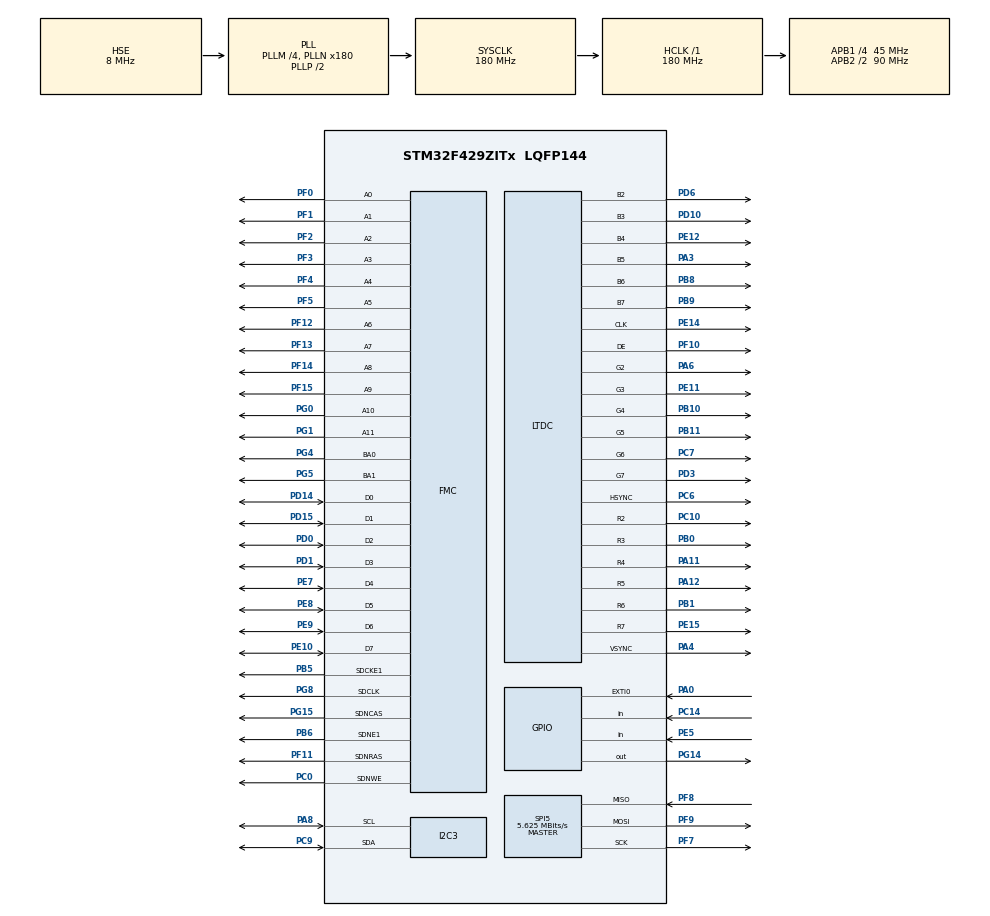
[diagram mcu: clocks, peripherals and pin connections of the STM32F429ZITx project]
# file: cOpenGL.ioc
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FMC.CASLatency2=FMC_SDRAM_CAS_LATENCY_3
FMC.ExitSelfRefreshDelay2=7
FMC.LoadToActiveDelay2=2
FMC.RCDDelay2=2
FMC.RPDelay2=2
FMC.ReadPipeDelay2=FMC_SDRAM_RPIPE_DELAY_1
FMC.RowCycleDelay2=7
FMC.SDClockPeriod2=FMC_SDRAM_CLOCK_PERIOD_2
FMC.SelfRefreshTime2=4
FMC.WriteRecoveryTime2=4
LTDC.ActiveH=480
LTDC.ActiveW=640
LTDC.HSync=8
LTDC.VSync=4
Mcu.Family=STM32F4
Mcu.Name=STM32F429ZITx
Mcu.Package=LQFP144
NVIC.EXTI0_IRQn=true\:0\:0\:false\:false\:true\:true\:true
NVIC.PriorityGroup=NVIC_PRIORITYGROUP_0
PA0/WKUP.GPIO_ModeDefaultEXTI=GPIO_MODE_IT_RISING
PA0/WKUP.GPIO_PuPd=GPIO_PULLDOWN
PA0/WKUP.Signal=GPXTI0
PA11.Mode=RGB666
PA11.Signal=LTDC_R4
PA12.Mode=RGB666
PA12.Signal=LTDC_R5
PA13.Mode=Serial_Wire
PA13.Signal=SYS_JTMS-SWDIO
PA14.Mode=Serial_Wire
PA14.Signal=SYS_JTCK-SWCLK
PA3.Mode=RGB666
PA3.Signal=LTDC_B5
PA4.Mode=RGB666
PA4.Signal=LTDC_VSYNC
PA6.Mode=RGB666
PA6.Signal=LTDC_G2
PA8.Mode=I2C
PA8.Signal=I2C3_SCL
PB0.Mode=RGB666
PB0.Signal=LTDC_R3
PB1.Mode=RGB666
PB1.Signal=LTDC_R6
PB10.Mode=RGB666
PB10.Signal=LTDC_G4
PB11.Mode=RGB666
PB11.Signal=LTDC_G5
PB5.Mode=SdramChipSelect2_2
PB5.Signal=FMC_SDCKE1
PB6.Mode=SdramChipSelect2_2
PB6.Signal=FMC_SDNE1
PB8.Mode=RGB666
PB8.Signal=LTDC_B6
PB9.Mode=RGB666
PB9.Signal=LTDC_B7
PC0.Signal=FMC_SDNWE
PC10.Mode=RGB666
PC10.Signal=LTDC_R2
PC14/OSC32_IN.GPIO_PuPd=GPIO_PULLUP
PC14/OSC32_IN.Signal=GPIO_Input
PC6.Mode=RGB666
PC6.Signal=LTDC_HSYNC
PC7.Mode=RGB666
PC7.Signal=LTDC_G6
PC9.Mode=I2C
PC9.Signal=I2C3_SDA
PD0.Signal=FMC_D2_DA2
PD1.Signal=FMC_D3_DA3
PD10.Mode=RGB666
PD10.Signal=LTDC_B3
PD14.Signal=FMC_D0_DA0
PD15.Signal=FMC_D1_DA1
PD3.Mode=RGB666
PD3.Signal=LTDC_G7
PD6.Mode=RGB666
PD6.Signal=LTDC_B2
PE10.Signal=FMC_D7_DA7
PE11.Mode=RGB666
PE11.Signal=LTDC_G3
PE12.Mode=RGB666
PE12.Signal=LTDC_B4
PE14.Mode=RGB666
PE14.Signal=LTDC_CLK
PE15.Mode=RGB666
PE15.Signal=LTDC_R7
PE5.GPIO_PuPd=GPIO_PULLUP
PE5.Signal=GPIO_Input
PE7.Signal=FMC_D4_DA4
PE8.Signal=FMC_D5_DA5
PE9.Signal=FMC_D6_DA6
PF0.Signal=FMC_A0
PF1.Signal=FMC_A1
PF10.Mode=RGB666
PF10.Signal=LTDC_DE
PF11.Signal=FMC_SDNRAS
PF12.Signal=FMC_A6
PF13.Signal=FMC_A7
PF14.Signal=FMC_A8
PF15.Signal=FMC_A9
PF2.Signal=FMC_A2
PF3.Signal=FMC_A3
PF4.Signal=FMC_A4
PF5.Signal=FMC_A5
PF7.Mode=Full_Duplex_Master
PF7.Signal=SPI5_SCK
PF8.Mode=Full_Duplex_Master
PF8.Signal=SPI5_MISO
PF9.Mode=Full_Duplex_Master
PF9.Signal=SPI5_MOSI
PG0.Signal=FMC_A10
PG1.Signal=FMC_A11
PG14.Signal=GPIO_Output
PG15.Signal=FMC_SDNCAS
PG4.Signal=FMC_A14_BA0
PG5.Signal=FMC_A15_BA1
PG8.Signal=FMC_SDCLK
PH0/OSC_IN.Mode=HSE-External-Oscillator
PH0/OSC_IN.Signal=RCC_OSC_IN
PH1/OSC_OUT.Mode=HSE-External-Oscillator
PH1/OSC_OUT.Signal=RCC_OSC_OUT
ProjectManager.HeapSize=0x200
ProjectManager.StackSize=0x400
ProjectManager.TargetToolchain=STM32CubeIDE
RCC.48MHZClocksFreq_Value=51428571.428571425
RCC.AHBFreq_Value=180000000
RCC.APB1CLKDivider=RCC_HCLK_DIV4
RCC.APB1Freq_Value=45000000
RCC.APB1TimFreq_Value=90000000
RCC.APB2CLKDivider=RCC_HCLK_DIV2
RCC.APB2Freq_Value=90000000
RCC.APB2TimFreq_Value=180000000
RCC.CortexFreq_Value=180000000
RCC.HCLKFreq_Value=180000000
RCC.HSE_VALUE=8000000
RCC.HSI_VALUE=16000000
RCC.LSE_VALUE=32768
RCC.PLLM=4
RCC.PLLN=180
RCC.PLLQ=7
RCC.PLLSAIN=50
RCC.PLLSourceVirtual=RCC_PLLSOURCE_HSE
RCC.SYSCLKFreq_VALUE=180000000
RCC.SYSCLKSource=RCC_SYSCLKSOURCE_PLLCLK
RCC.VCOOutputFreq_Value=360000000
SH.FMC_A0.0=FMC_A0,12b-sda2
SH.FMC_A1.0=FMC_A1,12b-sda2
SH.FMC_A10.0=FMC_A10,12b-sda2
SH.FMC_A11.0=FMC_A11,12b-sda2
SH.FMC_A14_BA0.0=FMC_BA0,FourSdramBanks2
SH.FMC_A15_BA1.0=FMC_BA1,FourSdramBanks2
SH.FMC_A2.0=FMC_A2,12b-sda2
SH.FMC_A3.0=FMC_A3,12b-sda2
SH.FMC_A4.0=FMC_A4,12b-sda2
SH.FMC_A5.0=FMC_A5,12b-sda2
SH.FMC_A6.0=FMC_A6,12b-sda2
SH.FMC_A7.0=FMC_A7,12b-sda2
SH.FMC_A8.0=FMC_A8,12b-sda2
SH.FMC_A9.0=FMC_A9,12b-sda2
SH.FMC_D0_DA0.0=FMC_D0,sd-8b-d2
SH.FMC_D1_DA1.0=FMC_D1,sd-8b-d2
SH.FMC_D2_DA2.0=FMC_D2,sd-8b-d2
SH.FMC_D3_DA3.0=FMC_D3,sd-8b-d2
SH.FMC_D4_DA4.0=FMC_D4,sd-8b-d2
SH.FMC_D5_DA5.0=FMC_D5,sd-8b-d2
SH.FMC_D6_DA6.0=FMC_D6,sd-8b-d2
SH.FMC_D7_DA7.0=FMC_D7,sd-8b-d2
SH.FMC_SDCLK.0=FMC_SDCLK,12b-sda2
SH.FMC_SDNCAS.0=FMC_SDNCAS,12b-sda2
SH.FMC_SDNRAS.0=FMC_SDNRAS,12b-sda2
SH.FMC_SDNWE.0=FMC_SDNWE,12b-sda2
SPI5.BaudRatePrescaler=SPI_BAUDRATEPRESCALER_16
SPI5.CalculateBaudRate=5.625 MBits/s
SPI5.Direction=SPI_DIRECTION_2LINES
SPI5.Mode=SPI_MODE_MASTER
SPI5.VirtualType=VM_MASTER
VP_DMA2D_VS_DMA2D.Mode=DMA2D_Activate
board=STM32F429I-DISC1

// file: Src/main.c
/* USER CODE BEGIN Header */
/**
  ******************************************************************************
  * @file           : main.c
  * @brief          : Main program body
  ******************************************************************************
  * @attention
  *
  * <h2><center>&copy; Copyright (c) 2020 STMicroelectronics.
  * All rights reserved.</center></h2>
  *
  * This software component is licensed by ST under BSD 3-Clause license,
  * the "License"; You may not use this file except in compliance with the
  * License. You may obtain a copy of the License at:
  *                        opensource.org/licenses/BSD-3-Clause
  *
  ******************************************************************************
  */
/* USER CODE END Header */
#include "main.h"
#include "dma2d.h"
#include "i2c.h"
#include "ltdc.h"
#include "spi.h"
#include "gpio.h"
#include "fmc.h"

/* USER CODE BEGIN Includes */
#include "stm32f429i_discovery.h"
#include "stm32f429i_discovery_ts.h"
#include "stm32f429i_discovery_io.h"
#include "stm32f429i_discovery_lcd.h"
#include "stm32f429i_discovery_gyroscope.h"

// opengl.h import must be the first one
#include "opengl.h"

#include "oglcube.h"
#include "TouchScreen/ts_calibration.h"
#include "camera.h"
#include "framehandler.h"
#include "depth_sdram.h"
#include "linmath_test.h"
#include "Demo.h"
#include "Log/lcd_log.h"

/* USER CODE END Includes */

/* USER CODE BEGIN PM */
#define DEPTH_SDRAM_START_ADRRES (LCD_FRAME_BUFFER + 2 * BUFFER_OFFSET)
#define ALT_KEY			GPIO_PIN_14
#define CUSTOM_SW_KEY	GPIO_PIN_5

/* USER CODE END PM */

/* USER CODE BEGIN PV */
extern SDRAM_HandleTypeDef hsdram2;
static __IO uint8_t m_DemoId = 0;

cOpenGL_DemoTypedef cOpenGL_Examples[] = {
	{CubeRotationAnim_Resume,  CubeRotationAnim_Pause, CubeRotationAnim_SetNextColor, CubeRotationAnim_ShowStat},
	{CubeTouchMe_Resume,       CubeTouchMe_Pause},
};
/* USER CODE END PV */

void SystemClock_Config(void);
/* USER CODE BEGIN PFP */
void BSP_InitAll();

/* USER CODE END PFP */

/* USER CODE BEGIN 0 */
void BSP_InitAll() {
   /* Initialize the LCD */
   BSP_LCD_Init();
   LCD_LOG_Init();
   BSP_GYRO_Init();
   /* Initialize the LCD Layers */
   BSP_LCD_LayerDefaultInit(1, LCD_FRAME_BUFFER);
   BSP_LCD_LayerDefaultInit(0, LCD_FRAME_BUFFER + BUFFER_OFFSET);

   int layer_id;
   for (layer_id = 0; layer_id < 2; layer_id++) {
	   BSP_LCD_SelectLayer(layer_id);
	   BSP_LCD_SetFont(&Font16);
	   BSP_LCD_SetBackColor(0xFF00FF00);
	   BSP_LCD_Clear(LCD_COLOR_WHITE);
   }

   TS_StatusTypeDef ts_ret = BSP_TS_Init(BSP_LCD_GetXSize(), BSP_LCD_GetYSize());
   assert_param(ts_ret == TS_OK);

   if (IsCalibrationDone() == 0) {
	   Touchscreen_Calibration();
   }
}

/* USER CODE END 0 */

int main(void)
{

  /* MCU Configuration--------------------------------------------------------*/

  /* Reset of all peripherals, Initializes the Flash interface and the Systick. */
  HAL_Init();

  /* Configure the system clock */
  SystemClock_Config();

  /* Initialize all configured peripherals */
  MX_GPIO_Init();
  MX_FMC_Init();
  MX_LTDC_Init();
  MX_DMA2D_Init();
  MX_SPI5_Init();
  MX_I2C3_Init();
  /* USER CODE BEGIN 2 */

  // FMC, LTDC, DMA2D, SPI5, and I2C3 will be reinitialized in BSP_LCD_Init()

  BSP_InitAll();

#ifdef OPENGL_ASSERT
  linmath_test_run_all();
#endif /* OPENGL_ASSERT */

  Depth_SDRAM_Init(&hsdram2, DEPTH_SDRAM_START_ADRRES, BSP_LCD_GetXSize(),
			 BSP_LCD_GetYSize());

  Camera camera;
  Camera_Init(&camera);

  FrameHandler_Init(BSP_LCD_GetXSize(), BSP_LCD_GetYSize());

  CubeRotationAnim_Init(&camera);
  CubeTouchMe_Init(&camera);
//HAL_GPIO_WritePin(GPIOG, GPIO_PIN_14, GPIO_PIN_SET);
  /* USER CODE END 2 */

  /* Infinite loop */
  /* USER CODE BEGIN WHILE */
  while (1)
  {
	  cOpenGL_Examples[m_DemoId].Resume();
	  if (GPIO_PIN_RESET == HAL_GPIO_ReadPin (GPIOC, ALT_KEY))
	  {
		  cOpenGL_Examples[m_DemoId].ShowStat();
	  }
	  if (GPIO_PIN_RESET == HAL_GPIO_ReadPin (GPIOE, CUSTOM_SW_KEY))
	  {
		  cOpenGL_Examples[m_DemoId].SetNextColor();
	  }
    /* USER CODE END WHILE */

  }
}

void SystemClock_Config(void)
{
  RCC_OscInitTypeDef RCC_OscInitStruct = {0};
  RCC_ClkInitTypeDef RCC_ClkInitStruct = {0};
  RCC_PeriphCLKInitTypeDef PeriphClkInitStruct = {0};

  /** Configure the main internal regulator output voltage
  */
  __HAL_RCC_PWR_CLK_ENABLE();
  __HAL_PWR_VOLTAGESCALING_CONFIG(PWR_REGULATOR_VOLTAGE_SCALE1);
  /** Initializes the RCC Oscillators according to the specified parameters
  * in the RCC_OscInitTypeDef structure.
  */
  RCC_OscInitStruct.OscillatorType = RCC_OSCILLATORTYPE_HSE;
  RCC_OscInitStruct.HSEState = RCC_HSE_ON;
  RCC_OscInitStruct.PLL.PLLState = RCC_PLL_ON;
  RCC_OscInitStruct.PLL.PLLSource = RCC_PLLSOURCE_HSE;
  RCC_OscInitStruct.PLL.PLLM = 4;
  RCC_OscInitStruct.PLL.PLLN = 180;
  RCC_OscInitStruct.PLL.PLLP = RCC_PLLP_DIV2;
  RCC_OscInitStruct.PLL.PLLQ = 7;
  if (HAL_RCC_OscConfig(&RCC_OscInitStruct) != HAL_OK)
  {
    Error_Handler();
  }
  /** Activate the Over-Drive mode
  */
  if (HAL_PWREx_EnableOverDrive() != HAL_OK)
  {
    Error_Handler();
  }
  /** Initializes the CPU, AHB and APB buses clocks
  */
  RCC_ClkInitStruct.ClockType = RCC_CLOCKTYPE_HCLK|RCC_CLOCKTYPE_SYSCLK
                              |RCC_CLOCKTYPE_PCLK1|RCC_CLOCKTYPE_PCLK2;
  RCC_ClkInitStruct.SYSCLKSource = RCC_SYSCLKSOURCE_PLLCLK;
  RCC_ClkInitStruct.AHBCLKDivider = RCC_SYSCLK_DIV1;
  RCC_ClkInitStruct.APB1CLKDivider = RCC_HCLK_DIV4;
  RCC_ClkInitStruct.APB2CLKDivider = RCC_HCLK_DIV2;

  if (HAL_RCC_ClockConfig(&RCC_ClkInitStruct, FLASH_LATENCY_5) != HAL_OK)
  {
    Error_Handler();
  }
  PeriphClkInitStruct.PeriphClockSelection = RCC_PERIPHCLK_LTDC;
  PeriphClkInitStruct.PLLSAI.PLLSAIN = 50;
  PeriphClkInitStruct.PLLSAI.PLLSAIR = 2;
  PeriphClkInitStruct.PLLSAIDivR = RCC_PLLSAIDIVR_2;
  if (HAL_RCCEx_PeriphCLKConfig(&PeriphClkInitStruct) != HAL_OK)
  {
    Error_Handler();
  }
}

/* USER CODE BEGIN 4 */

/**
  * @brief  EXTI line 0 detection callbacks.
  * @param  GPIO_Pin: Specifies the pins connected EXTI line
  * @retval None
  */
void HAL_GPIO_EXTI_Callback(uint16_t GPIO_Pin)
{
	if (GPIO_Pin == KEY_BUTTON_PIN)
	{
		m_DemoId = (m_DemoId + 1) % (sizeof(cOpenGL_Examples) / sizeof(cOpenGL_Examples[0]));
	}
}

#ifdef OPENGL_ASSERT

/**
   * @brief OpenGL application specific reports,
   * where the opengl_assert error has occurred.
   * @param file: pointer to the source file name
   * @param line: opengl_assert error line source number
   * @retval None
   */
void opengl_assert_failed(uint8_t* file, uint32_t line)
{
	BSP_LCD_SetLayerVisible(1, ENABLE);
	BSP_LCD_SelectLayer(1);
	LCD_ErrLog("Assert failed: %s, line %lu\n", file, line);
	Error_Handler();
}

#endif /* OPENGL_ASSERT */

/* USER CODE END 4 */

void Error_Handler(void)
{
  /* USER CODE BEGIN Error_Handler_Debug */
  /* User can add his own implementation to report the HAL error return state */
    HAL_GPIO_WritePin(GPIOG, GPIO_PIN_14, GPIO_PIN_SET);
    while (1);

  /* USER CODE END Error_Handler_Debug */
}

#ifdef  USE_FULL_ASSERT
/**
  * @brief  Reports the name of the source file and the source line number
  *         where the assert_param error has occurred.
  * @param  file: pointer to the source file name
  * @param  line: assert_param error line source number
  * @retval None
  */
void assert_failed(uint8_t *file, uint32_t line)
{
  /* USER CODE BEGIN 6 */
  /* User can add his own implementation to report the file name and line number,
     tex: printf("Wrong parameters value: file %s on line %d\r\n", file, line) */
    opengl_assert_failed(file, line);
  /* USER CODE END 6 */
}
#endif /* USE_FULL_ASSERT */

/************************ (C) COPYRIGHT STMicroelectronics *****END OF FILE****/
